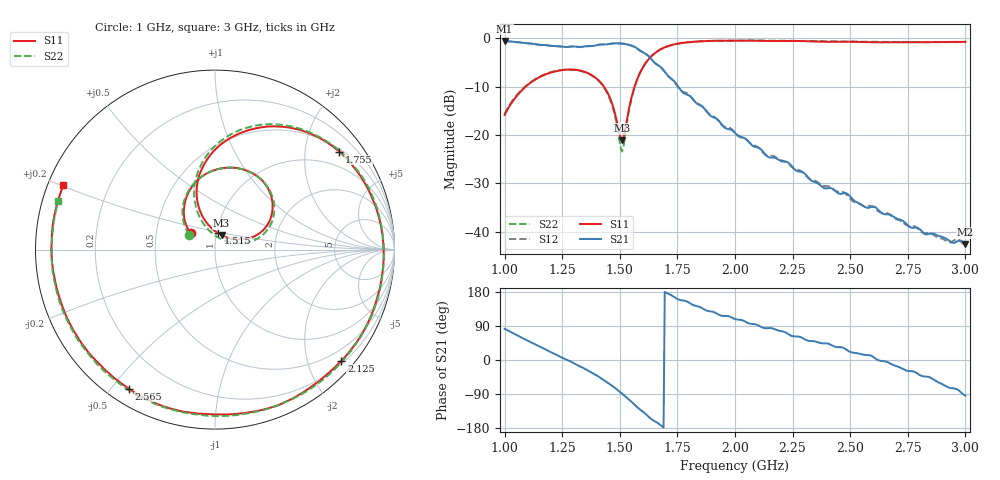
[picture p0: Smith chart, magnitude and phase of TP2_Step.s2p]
! ZVRE, 3.52
! symbol freq-unit parameter-type data-format keyword impedance-ohm
#  HZ  S  RI  R  50
! freq  reS11  imS11  reS21  imS21  reS12  imS12  reS22  imS22
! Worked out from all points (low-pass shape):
!   401 points, 1 GHz to 3 GHz, reference 50 ohm
!   highest |S21| = -0.58 dB at 1 GHz (marker M1); lowest = -42.6 dB at 3 GHz (marker M2)
!   |S21| within 3 dB of the highest: start of sweep to 1.623 GHz
!   lowest |S11| = -21.1 dB at 1.51 GHz (marker M3), VSWR 1.19, Z = 53.1 + j8.56 ohm
!   |S11| at or under -10 dB: start of sweep to 1.092 GHz; 1.431 GHz to 1.564 GHz (133.5 MHz wide, 8.91 % of centre)
!   |S22| runs from -23.4 to -0.5 dB; largest |S21 - S12| = 0.013
!   S11 on the Smith chart (normalised r, x): 1 GHz: 0.75, +0.14; 1.515 GHz: 1.02, +0.19; 1.755 GHz: 0.57, +2.79; 2.125 GHz: 0.26, -2.63; 2.565 GHz: 0.06, -0.56; 3 GHz: 0.04, +0.20
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1e9  -0.1334 0.0903  0.1238 0.9267  0.1241 0.9252  -0.1422 0.0835
1.085e9  -0.1693 0.2542  0.5047 0.737  0.5038 0.7376  -0.1763 0.2559
1.175e9  -0.0613 0.4155  0.7472 0.4066  0.7445 0.4086  -0.0523 0.421
1.255e9  0.1207 0.4543  0.8121 0.0651  0.8107 0.0698  0.1336 0.4518
1.335e9  0.2821 0.3618  0.7694 -0.2672  0.7676 -0.2616  0.2927 0.349
1.44e9  0.2706 0.1107  0.4712 -0.7214  0.4771 -0.7217  0.2729 0.0888
1.47e9  0.1888 0.063  0.3107 -0.8244  0.3141 -0.8258  0.1864 0.041
1.51e9  0.0367 0.0799  0.0196 -0.8794  0.0196 -0.8799  0.0288 0.0611
1.515e9  0.0174 0.0908  -0.0207 -0.8769  -0.0197 -0.8773  0.00893 0.0727
1.545e9  -0.0767 0.1996  -0.2505 -0.8098  -0.2522 -0.8094  -0.0884 0.1871
1.575e9  -0.0999 0.3599  -0.4421 -0.65  -0.4346 -0.6454  -0.1139 0.3545
1.62e9  0.0318 0.5852  -0.5617 -0.3665  -0.5577 -0.3686  0.012 0.589
1.67e9  0.3025 0.6863  -0.5081 -0.1028  -0.5077 -0.1088  0.278 0.6973
1.755e9  0.6936 0.5456  -0.2929 0.109  -0.291 0.098  0.673 0.5668
1.865e9  0.9186 0.1591  -0.1312 0.137  -0.1322 0.137  0.9091 0.2093
2e9  0.8942 -0.3013  -0.0326 0.1  -0.0324 0.101  0.9181 -0.2294
2.125e9  0.7038 -0.6196  0.00623 0.0655  0.00464 0.0641  0.7639 -0.5553
2.335e9  0.1728 -0.9096  0.0214 0.0257  0.0214 0.0268  0.278 -0.8908
2.565e9  -0.4798 -0.7744  0.0175 0.0042  0.0176 0.00464  -0.3782 -0.8391
2.67e9  -0.7011 -0.5779  0.015 -0.00214  0.0148 -0.00272  -0.6374 -0.6554
2.83e9  -0.8965 -0.1436  0.00676 -0.00652  0.00709 -0.00667  -0.8802 -0.24
3e9  -0.8453 0.3572  -0.000489 -0.00742  -0.000394 -0.00709  -0.8728 0.2697
